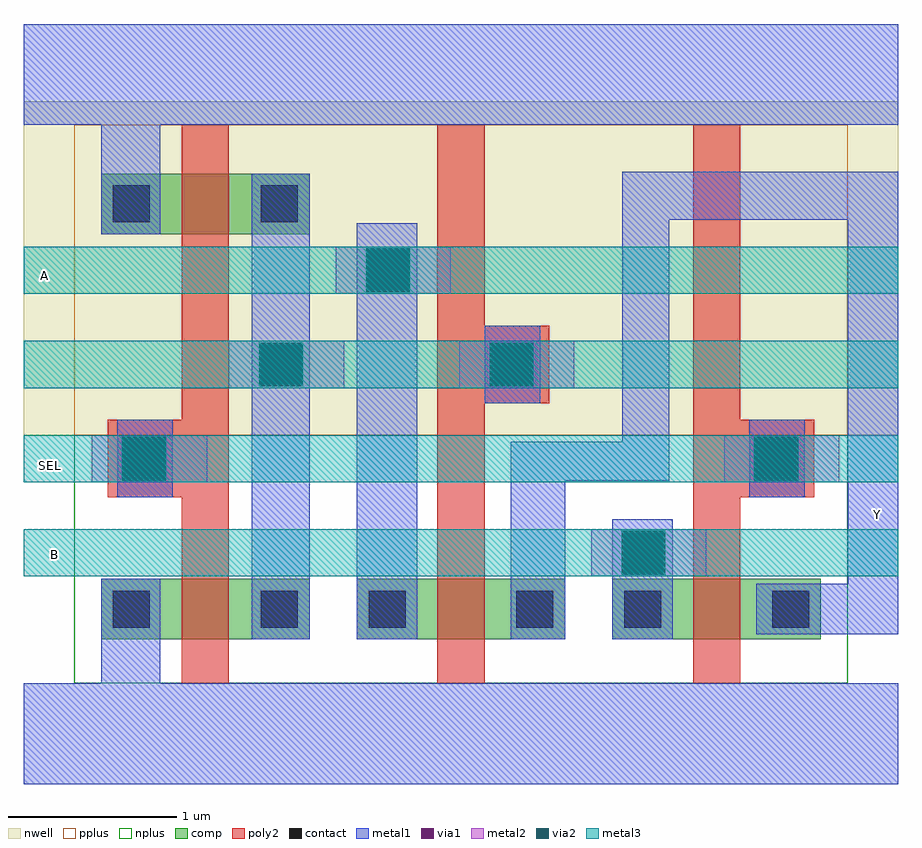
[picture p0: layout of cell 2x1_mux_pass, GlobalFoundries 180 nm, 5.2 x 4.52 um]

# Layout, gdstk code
import gdstk
lib = gdstk.Library(unit=1e-6, precision=5e-09)
def R(c, l, rs):  # rectangles x0, y0, x1, y1
    for r in rs: c.add(gdstk.rectangle(r[:2], r[2:], *l))
def A(c, l, x, y, w, h, nx, ny, dx, dy):  # array of equal rectangles
    R(c, l, [(x+i*dx, y+j*dy, x+i*dx+w, y+j*dy+h) for i in range(nx) for j in range(ny)])
nwell = (21, 0)
comp = (22, 0)
poly2 = (30, 0)
pplus = (31, 0)
nplus = (32, 0)
contact = (33, 0)
metal1 = (34, 0)
via1 = (35, 0)
metal2 = (36, 0)
via2 = (38, 0)
metal3 = (42, 0)

c_2x1_mux_pass = lib.new_cell('2x1_mux_pass')
R(c_2x1_mux_pass, nwell, [(-2.935,-2.76,2.265,-0.775)])
A(c_2x1_mux_pass, comp, -2.475, -3.975, 1.24, 0.36, 3, 1, 1.52, 0)
R(c_2x1_mux_pass, comp, [(-2.475,-1.565,-1.235,-1.205)])
A(c_2x1_mux_pass, poly2, -1.995, -4.235, 0.28, 3.32, 3, 1, 1.52, 0)
R(c_2x1_mux_pass, poly2, [(-2.435,-3.13,-1.995,-2.67), (1.325,-3.13,1.765,-2.67), (-0.25,-2.57,0.19,-2.11)])
R(c_2x1_mux_pass, pplus, [(-2.635,-2.76,1.965,-0.915)])
R(c_2x1_mux_pass, nplus, [(-2.635,-4.235,1.965,-2.76)])
R(c_2x1_mux_pass, contact, [(-2.405,-3.905,-2.185,-3.685), (-1.525,-3.905,-1.305,-3.685), (-0.885,-3.905,-0.665,-3.685), (-0.005,-3.905,0.215,-3.685), (0.635,-3.905,0.855,-3.685), (1.515,-3.905,1.735,-3.685), (-2.33,-3.01,-2.11,-2.79), (1.43,-3.01,1.65,-2.79), (-0.145,-2.45,0.075,-2.23), (-2.405,-1.495,-2.185,-1.275), (-1.525,-1.495,-1.305,-1.275)])
R(c_2x1_mux_pass, metal1, [(-2.935,-4.835,2.265,-4.235), (-2.475,-4.235,-2.125,-3.615), (-1.58,-3.975,-1.235,-1.205), (-0.955,-3.975,-0.595,-1.5), (-0.04,-3.975,0.285,-2.8), (0.565,-3.975,0.925,-3.26), (1.42,-3.945,1.965,-3.645), (1.965,-3.945,2.265,-1.195), (-2.38,-3.13,-2.05,-2.67), (1.38,-3.13,1.71,-2.67), (-0.04,-3.03,0.905,-2.8), (0.625,-3.03,0.905,-1.195), (-0.195,-2.57,0.135,-2.11), (-2.475,-1.565,-2.125,-0.915), (0.635,-1.48,2.265,-1.195), (-2.935,-0.915,2.265,-0.315)])
R(c_2x1_mux_pass, via1, [(0.62,-3.59,0.88,-3.33), (-2.35,-3.03,-2.09,-2.77), (1.41,-3.03,1.67,-2.77), (-1.535,-2.47,-1.275,-2.21), (-0.165,-2.47,0.095,-2.21), (-0.9,-1.91,-0.64,-1.65)])
R(c_2x1_mux_pass, metal2, [(0.44,-3.6,1.125,-3.32), (-2.53,-3.04,-1.845,-2.76), (1.23,-3.04,1.915,-2.76), (-1.715,-2.48,-1.03,-2.2), (-0.345,-2.48,0.34,-2.2), (-1.08,-1.92,-0.395,-1.64)])
R(c_2x1_mux_pass, via2, [(0.62,-3.59,0.88,-3.33), (-2.35,-3.03,-2.09,-2.77), (1.41,-3.03,1.67,-2.77), (-1.535,-2.47,-1.275,-2.21), (-0.165,-2.47,0.095,-2.21), (-0.9,-1.91,-0.64,-1.65)])
A(c_2x1_mux_pass, metal3, -2.935, -3.6, 5.2, 0.28, 1, 4, 0, 0.56)
c_2x1_mux_pass.add(gdstk.Label('SEL', (-2.775,-2.94), layer=42, texttype=10))
c_2x1_mux_pass.add(gdstk.Label('A', (-2.81,-1.81), layer=42, texttype=10))
c_2x1_mux_pass.add(gdstk.Label('B', (-2.755,-3.47), layer=42, texttype=10))
c_2x1_mux_pass.add(gdstk.Label('Y', (2.145,-3.23), layer=34, texttype=10))

lib.write_gds('2x1_mux_pass.gds')
